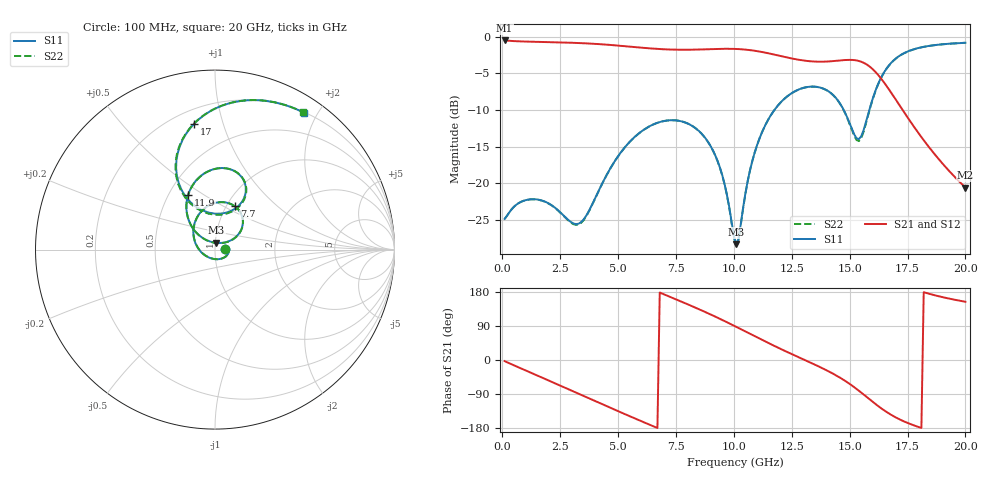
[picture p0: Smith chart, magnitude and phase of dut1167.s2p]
! Touchstone file exported from HFSS 2026.1.0
!  File:  C:/ffzhzh/LocalFiles/Ansys_Project_Files/temp_train_TSV_RDL_1167_1783313647_38704.aedt
!  Generated:  01:06:11 PM Jul  6, 2026
!  Design:  TSV_RDL
!  Project:  temp_train_TSV_RDL_1167_1783313647_38704
! Variables:
!  h_bsmrdl = 5.17um
!  h_ox = 20um
!  h_rdl = 5um
!  h_sub = 72.63um
!  h_tmrdl = 2.63um
!  h_tsv = 72.63um
!  h_via = 3um
!  l_bsmrdl = 961.19um
!  l_sub = 7363.82um
!  l_tmrdl = 994.27um
!  m_sub = 200um
!  pitch = 25.32um
!  r_tsv = 11.26um
!  s_tmrdl = 10um
!  w_bsmrdl = 23.71um
!  w_sub = 500um
!  w_tmrdl = 10.68um
!  x_tsv_center1 = 999.61um
!  x_tsv_center2 = 1984.51um
!  x_tsv_center3 = 2989.46um
!  x_tsv_center4 = 3974.36um
!  x_tsv_center5 = 4979.31um
!  x_tsv_center6 = 5964.21um
# GHz S MA R 50.000000
! Terminal data exported
! Port[1] = TM_RDL1_1_T1
! Port[2] = TM_RDL5_1_T1
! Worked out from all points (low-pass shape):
!   200 points, 100 MHz to 20 GHz, reference 50 ohm
!   highest |S21| = -0.51 dB at 100 MHz (marker M1); lowest = -20.6 dB at 20 GHz (marker M2)
!   |S21| within 3 dB of the highest: start of sweep to 15.57 GHz
!   lowest |S11| = -28.3 dB at 10.1 GHz (marker M3), VSWR 1.08, Z = 50.5 + j3.82 ohm
!   |S11| at or under -10 dB: start of sweep to 11.75 GHz; 14.75 GHz to 15.85 GHz (1.104 GHz wide, 7.22 % of centre)
!   |S22| runs from -28.6 to -0.8 dB; largest |S21 - S12| = 1.5e-14
!   S11 on the Smith chart (normalised r, x): 100 MHz: 1.12, +0.01; 7.7 GHz: 1.09, +0.57; 11.9 GHz: 0.63, +0.43; 17 GHz: 0.28, +0.81; 20 GHz: 0.21, +1.82
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0.1  0.05722 4.6  0.9432 -3.0  0.9432 -3.0  0.05722 4.6
! Gamma 0 0 0 0
! Port Impedance 50 0 50 0
0.9  0.07583 0.1  0.9281 -24.7  0.9281 -24.7  0.07579 0.1
2  0.07299 -28.5  0.9186 -54.1  0.9186 -54.1  0.07278 -28.3
3.1  0.05306 -92.8  0.9084 -83.7  0.9084 -83.7  0.05248 -92.8
3.5  0.05641 -130.3  0.903 -94.5  0.903 -94.5  0.05577 -130.7
4.3  0.09872 172.3  0.888 -116.2  0.888 -116.2  0.09827 171.7
5.2  0.169 135.0  0.8647 -140.3  0.8647 -140.3  0.1687 134.6
6.8  0.2618 88.4  0.8242 178.0  0.8242 178.0  0.2617 88.0
7.7  0.2657 65.8  0.8151 154.9  0.8151 154.9  0.2655 65.5
9.2  0.1549 33.1  0.8251 114.4  0.8251 114.4  0.1546 32.5
9.6  0.09881 30.5  0.8275 102.7  0.8275 102.7  0.09839 29.8
10.1  0.03833 79.7  0.8253 87.7  0.8253 87.7  0.03728 79.5
10.9  0.1621 136.7  0.8026 63.0  0.8026 63.0  0.1619 136.8
11.9  0.3391 116.2  0.746 32.8  0.746 32.8  0.3391 116.1
13.4  0.4571 82.5  0.6784 -9.5  0.6784 -9.5  0.4568 82.2
14.5  0.3666 62.1  0.687 -43.6  0.687 -43.6  0.3653 61.5
15.4  0.2001 90.2  0.6833 -81.1  0.6833 -81.1  0.1942 90.0
16.1  0.4219 118.6  0.5788 -115.4  0.5788 -115.4  0.4183 119.3
16.7  0.6383 106.4  0.4371 -141.2  0.4371 -141.2  0.6363 106.8
17  0.7116 99.3  0.3713 -151.7  0.3713 -151.7  0.71 99.7
18.1  0.847 78.7  0.2067 -179.2  0.2067 -179.2  0.8463 79.0
20  0.9092 57.1  0.09362 153.7  0.09362 153.7  0.9089 57.2
